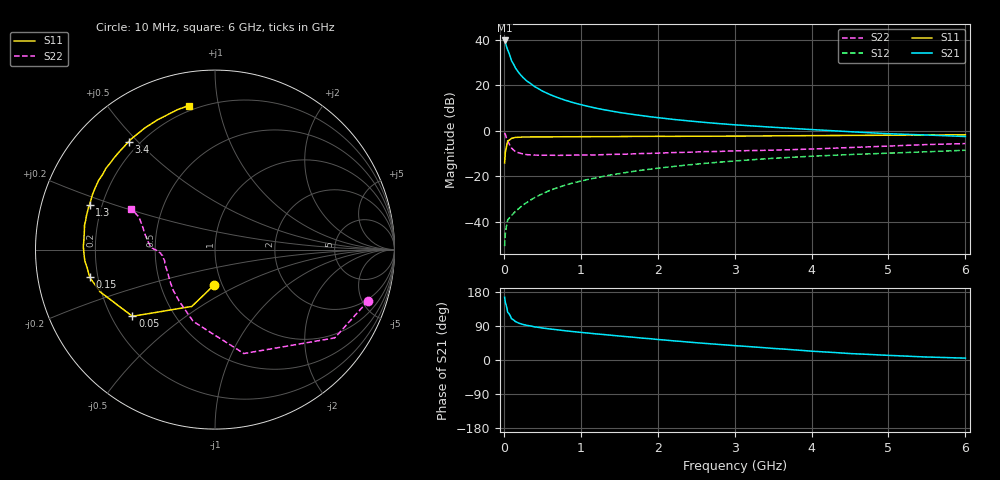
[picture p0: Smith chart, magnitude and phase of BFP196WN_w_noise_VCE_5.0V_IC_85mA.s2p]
! (c) 2017  Infineon Technologies AG, Munich
! Infineon Technologies  Discrete & RF Semiconductors
! BFP196WN
! VCE =  5.0 V,  IC =  85 mA
! Common Emitter S-Parameters:  Jan 2017
# GHz  S  MA  R  50
!  f  S11  S21  S12  S22
! GHz  MAG  ANG  MAG  ANG  MAG  ANG  MAG  ANG
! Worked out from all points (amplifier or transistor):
!   77 points, 10 MHz to 6 GHz, reference 50 ohm
!   highest |S21| = 39.7 dB at 10 MHz (marker M1)
!   |S21| within 3 dB of that: start of sweep to 38.23 MHz
!   unconditionally stable (mu >= 1): 482 MHz to 2.641 GHz
!   at 130 MHz: K = 0.68, MSG = 32.6 dB, |S12| = -36.2 dB
!   at 2.2 GHz: K = 1.02, MAG = 9.6 dB, |S12| = -15.7 dB
!   at 6 GHz: K = 0.92, MSG = 3.0 dB, |S12| = -8.6 dB
!   lowest NFmin = 1.64 dB at 450 MHz
!   S11 on the Smith chart (normalised r, x): 10 MHz: 0.92, -0.37; 50 MHz: 0.29, -0.33; 150 MHz: 0.17, -0.11; 1.3 GHz: 0.15, +0.17; 3.4 GHz: 0.16, +0.47; 6 GHz: 0.17, +0.82
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0.01  0.1957 -91.0  96.67 165.6  0.0029 77.0  0.8996 -18.5
0.02  0.342 -112.2  86.26 151.7  0.0056 71.4  0.8289 -36.4
0.05  0.5914 -141.1  59.77 126.0  0.0109 53.2  0.6009 -74.5
0.1  0.6822 -159.8  34.76 108.9  0.0136 52.8  0.418 -106.9
0.15  0.7149 -167.5  24.18 101.4  0.0168 55.8  0.3491 -125.0
0.2  0.7198 -172.1  18.33 96.9  0.0198 62.4  0.324 -136.3
0.25  0.7278 -175.0  14.77 93.7  0.0234 62.1  0.3089 -143.5
0.3  0.7298 -177.5  12.37 91.4  0.0265 64.8  0.2987 -149.5
0.4  0.7338 178.8  9.335 87.4  0.0339 68.8  0.2915 -156.3
0.5  0.7324 176.1  7.477 84.5  0.041 70.0  0.2904 -161.1
0.6  0.7337 173.6  6.249 81.9  0.049 70.8  0.2897 -164.7
0.7  0.7355 171.6  5.351 79.6  0.056 71.4  0.2876 -167.1
0.9  0.7385 167.4  4.159 74.9  0.0713 71.3  0.2913 -170.2
1.1  0.741 163.9  3.418 71.0  0.0856 70.7  0.294 -173.0
1.3  0.7421 160.4  2.903 67.2  0.1 69.9  0.2987 -174.3
1.6  0.7486 155.7  2.385 61.5  0.1217 67.9  0.3062 -176.6
2.1  0.7534 147.9  1.862 52.5  0.1568 64.0  0.3265 -179.3
3.1  0.7635 133.1  1.319 36.6  0.2227 55.4  0.3638 176.2
3.4  0.7698 128.7  1.223 32.2  0.2415 52.9  0.3714 174.2
4.1  0.7832 118.9  1.04 22.1  0.2801 46.6  0.4024 166.8
5.1  0.7992 108.1  0.849 11.4  0.3261 38.9  0.4675 156.5
6  0.8156 100.3  0.747 4.9  0.3731 32.7  0.5221 154.3
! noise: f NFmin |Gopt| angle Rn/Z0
0.45  1.64  0.59  -175  0.05
0.9  1.77  0.6  -168  0.07
1.9  2.75  0.7  -146  0.22
2.4  3.53  0.72  -138  0.37
